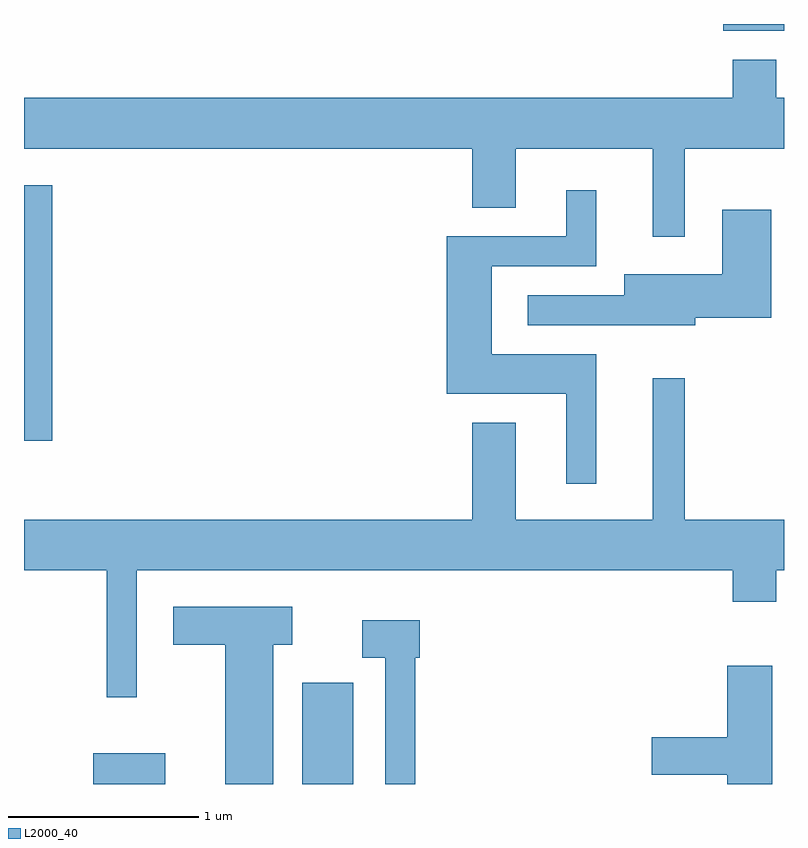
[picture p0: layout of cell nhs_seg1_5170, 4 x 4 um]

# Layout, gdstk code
import gdstk
lib = gdstk.Library(unit=1e-6, precision=1e-09)
def R(c, l, rs):  # rectangles x0, y0, x1, y1
    for r in rs: c.add(gdstk.rectangle(r[:2], r[2:], *l))
def P(c, l, *ps):  # polygons
    for p in ps: c.add(gdstk.Polygon(p, *l))
L2000_40 = (2000, 40)

nhs_seg1_5170 = lib.new_cell('nhs_seg1_5170')
R(nhs_seg1_5170, L2000_40, [(339.976,971.712,340.354,971.874), (341.076,971.712,341.344,972.244), (339.611,973.518,339.759,974.863), (343.291,975.676,343.611,975.712)])
P(nhs_seg1_5170, L2000_40, [(343.089,975.056),(343.611,975.056),(343.611,975.324),(343.569,975.324),(343.569,975.524),(343.341,975.524),(343.341,975.324),(339.611,975.324),(339.611,975.056),(341.971,975.056),(341.971,974.746),(342.199,974.746),(342.199,975.056),(342.921,975.056),(342.921,974.593),(343.089,974.593)],
  [(342.624,973.974),(342.074,973.974),(342.074,974.436),(342.624,974.436),(342.624,974.838),(342.466,974.838),(342.466,974.594),(341.836,974.594),(341.836,973.766),(342.466,973.766),(342.466,973.293),(342.624,973.293)],
  [(343.144,974.166),(343.544,974.166),(343.544,974.734),(343.286,974.734),(343.286,974.394),(342.771,974.394),(342.771,974.284),(342.263,974.284),(342.263,974.126),(343.144,974.126)],
  [(343.341,972.671),(343.569,972.671),(343.569,972.836),(343.611,972.836),(343.611,973.104),(343.089,973.104),(343.089,973.848),(342.921,973.848),(342.921,973.104),(342.199,973.104),(342.199,973.614),(341.971,973.614),(341.971,973.104),(339.611,973.104),(339.611,972.836),(340.046,972.836),(340.046,972.168),(340.204,972.168),(340.204,972.836),(343.341,972.836)],
  [(340.924,972.446),(341.024,972.446),(341.024,972.644),(340.396,972.644),(340.396,972.446),(340.671,972.446),(340.671,971.712),(340.924,971.712)],
  [(341.669,972.376),(341.694,972.376),(341.694,972.574),(341.391,972.574),(341.391,972.376),(341.511,972.376),(341.511,971.712),(341.669,971.712)],
  [(343.549,972.334),(343.311,972.334),(343.311,971.959),(342.916,971.959),(342.916,971.761),(343.311,971.761),(343.311,971.712),(343.549,971.712)])

lib.write_gds('nhs_seg1_5170.gds')
